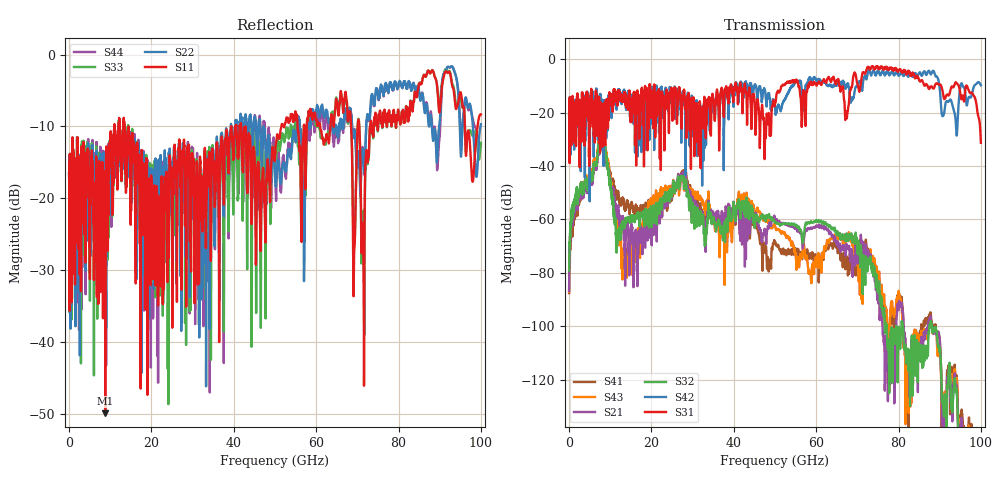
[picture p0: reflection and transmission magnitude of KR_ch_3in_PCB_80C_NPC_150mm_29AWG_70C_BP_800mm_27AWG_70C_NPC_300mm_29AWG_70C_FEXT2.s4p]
# GHz S RI R 45
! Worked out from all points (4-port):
!   4000 points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, 25 MHz to 100 GHz, reference 45 ohm
!   strongest paths, dB at 25 MHz, 25.02 GHz, 50.02 GHz, 75.03 GHz, 100 GHz:
!     S31: -20.7, -17.6, -16.4, -3.0, -31.3
!     S42: -20.7, -17.7, -18.0, -4.4, -9.7
!     S32: -79.1, -49.5, -61.3, -84.9, -155.0
!     S21: -86.8, -50.4, -60.1, -87.8, -157.8
!     S43: -87.1, -48.6, -62.6, -81.2, -149.6
!     S41: -87.6, -51.8, -68.5, -83.1, -149.4
!   lowest |S11| = -50.0 dB at 8.8 GHz (marker M1), VSWR 1.01, Z = 44.8 - j0.241 ohm
!   |S11| at or under -10 dB: start of sweep to 11.02 GHz; 13.41 GHz to 39.39 GHz (25.99 GHz wide, 98.4 % of centre); 42.84 GHz to 51.56 GHz (8.725 GHz wide, 18.5 % of centre) (the widest 3 of 28)
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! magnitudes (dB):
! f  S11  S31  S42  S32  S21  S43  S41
! 25 MHz  -16.4  -20.7  -20.7  -79.1  -86.8  -87.1  -87.6
! 8.8 GHz  -50.0  -23.5  -15.5  -32.8  -34.0  -31.6  -32.8
! 13.22 GHz  -9.3  -13.6  -11.9  -61.5  -60.5  -73.4  -53.2
! 27.4 GHz  -19.2  -18.9  -16.4  -44.4  -43.2  -45.2  -42.6
! 48.55 GHz  -17.3  -20.9  -12.7  -58.0  -62.0  -60.4  -78.4
! 74.9 GHz  -10.1  -2.6  -4.4  -86.6  -90.2  -81.9  -84.4
! 100 GHz  -8.3  -31.3  -9.7  -155.0  -157.8  -149.6  -149.4
